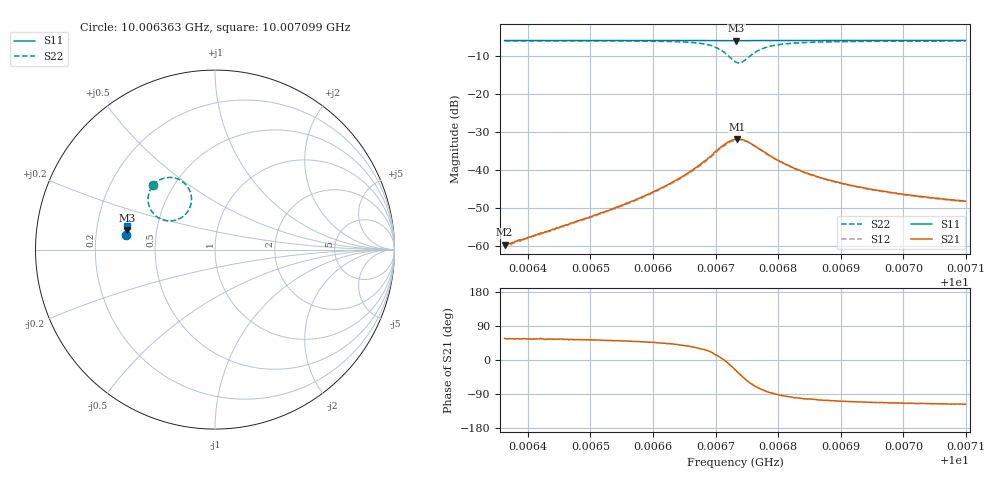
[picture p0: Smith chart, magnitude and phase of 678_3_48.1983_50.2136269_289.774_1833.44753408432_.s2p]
#  HZ  S  RI  R  50.00
! Rohde & Schwarz Vector Network Analyzer
! Rohde-Schwarz,ZNB20-2Port,1311601062101988,3.16
! Created: UTC 3/20/2024, 12:06:32 PM
! freq[Hz]  re:S11  im:S11  re:S21  im:S21  re:S12  im:S12  re:S22  im:S22
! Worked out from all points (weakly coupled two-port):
!   401 points, 10.006363 GHz to 10.007099 GHz, reference 50 ohm
!   highest |S21| = -31.92 dB at 10.006735 GHz (marker M1); lowest = -59.7 dB at 10.006363 GHz (marker M2)
!   lowest |S11| = -6.0 dB at 10.006733 GHz (marker M3), VSWR 3.02, Z = 16.7 + j4.77 ohm
!   |S11| at or under -10 dB: nowhere
!   |S22| runs from -11.8 to -6.0 dB; largest |S21 - S12| = 0.0023
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1.00063629e10  -0.4971 0.0835  0.000569 0.000864  0.000499 0.000902  -0.3467 0.3606
1.00063758e10  -0.4969 0.0843  0.00061 0.00092  0.000524 0.000939  -0.3454 0.3617
1.00064862e10  -0.4959 0.0915  0.00132 0.00176  0.0012 0.0018  -0.3321 0.3735
1.00065488e10  -0.4951 0.0958  0.00214 0.0026  0.00196 0.00264  -0.3196 0.3823
1.00066096e10  -0.4942 0.0999  0.00389 0.00395  0.00362 0.00405  -0.2973 0.3938
1.00066519e10  -0.4935 0.1028  0.00684 0.00526  0.00636 0.00549  -0.2651 0.4015
1.00066721e10  -0.493 0.1042  0.00957 0.00582  0.00896 0.00614  -0.2379 0.4013
1.00066924e10  -0.4924 0.1056  0.0141 0.0054  0.0134 0.00602  -0.1963 0.3889
1.00067053e10  -0.4916 0.1062  0.0188 0.00305  0.0178 0.00399  -0.1584 0.3575
1.00067163e10  -0.491 0.1066  0.022 -0.00138  0.0213 9.96e-05  -0.1349 0.3113
1.00067311e10  -0.4908 0.1065  0.0227 -0.0108  0.0229 -0.00864  -0.145 0.2237
1.00067329e10  -0.4906 0.1065  0.0223 -0.012  0.0227 -0.00988  -0.1515 0.2129
1.00067347e10  -0.4907 0.1065  0.0216 -0.0133  0.0222 -0.0111  -0.159 0.203
1.00067421e10  -0.4908 0.1066  0.0184 -0.0169  0.0193 -0.0153  -0.1971 0.1726
1.00067513e10  -0.4912 0.1067  0.0132 -0.0194  0.0144 -0.0182  -0.2515 0.1595
1.00067642e10  -0.4918 0.1075  0.00689 -0.0191  0.00805 -0.0184  -0.3112 0.175
1.00067789e10  -0.4921 0.1085  0.00264 -0.0168  0.00346 -0.0166  -0.3484 0.2076
1.00068102e10  -0.492 0.111  -0.00113 -0.012  -0.000481 -0.012  -0.3715 0.2623
1.00068544e10  -0.4917 0.1141  -0.00201 -0.00832  -0.00159 -0.00831  -0.3711 0.3021
1.00069133e10  -0.4909 0.1181  -0.00208 -0.00596  -0.00175 -0.00599  -0.3634 0.3274
1.00069777e10  -0.4902 0.1222  -0.00199 -0.00465  -0.00175 -0.00468  -0.3561 0.3423
1.00070992e10  -0.4884 0.1299  -0.00175 -0.00345  -0.00155 -0.00346  -0.3451 0.3587
